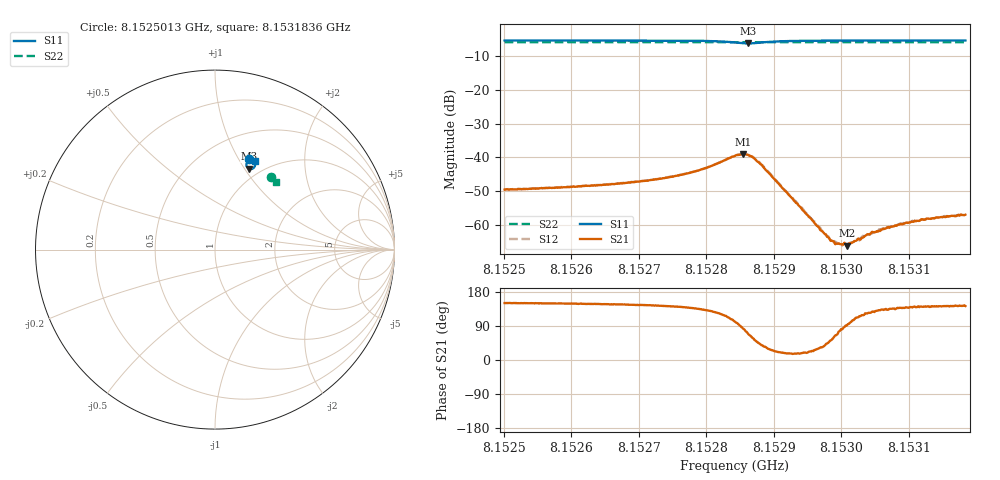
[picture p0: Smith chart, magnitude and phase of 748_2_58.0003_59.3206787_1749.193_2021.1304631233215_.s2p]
#  HZ  S  RI  R  50.00
! Rohde & Schwarz Vector Network Analyzer
! Rohde-Schwarz,ZNB20-2Port,1311601062101988,3.16
! Created: UTC 3/21/2024, 1:23:52 AM
! freq[Hz]  re:S11  im:S11  re:S21  im:S21  re:S12  im:S12  re:S22  im:S22
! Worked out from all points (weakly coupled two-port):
!   401 points, 8.1525013 GHz to 8.1531836 GHz, reference 50 ohm
!   highest |S21| = -38.99 dB at 8.1528544 GHz (marker M1); lowest = -66.2 dB at 8.1530079 GHz (marker M2)
!   lowest |S11| = -6.2 dB at 8.1528612 GHz (marker M3), VSWR 2.91, Z = 44.4 + j52.4 ohm
!   |S11| at or under -10 dB: nowhere
!   |S22| runs from -5.9 to -5.8 dB; largest |S21 - S12| = 0.00035
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8.15250127e9  0.1891 0.5062  -0.00288 0.00164  -0.00288 0.00168  0.3102 0.406
8.15261557e9  0.1985 0.5024  -0.00318 0.00195  -0.00319 0.002  0.3158 0.4013
8.1526838e9  0.2049 0.4994  -0.0035 0.00234  -0.00347 0.00241  0.3193 0.3986
8.15272986e9  0.2102 0.4962  -0.00384 0.00286  -0.00381 0.00294  0.3216 0.3966
8.15278786e9  0.2187 0.4875  -0.0045 0.00449  -0.0045 0.00458  0.3244 0.3938
8.15284245e9  0.2161 0.4558  -0.00205 0.0103  -0.00204 0.0103  0.3263 0.3906
8.15285439e9  0.2012 0.4487  0.00137 0.0111  0.00137 0.0111  0.3263 0.39
8.15286122e9  0.1903 0.4501  0.00359 0.0103  0.0036 0.0104  0.3263 0.3901
8.15287145e9  0.1781 0.4605  0.00574 0.00758  0.00574 0.00778  0.3264 0.3902
8.15288169e9  0.1747 0.4733  0.00605 0.00491  0.0059 0.00495  0.3269 0.3903
8.15295675e9  0.1987 0.4976  0.00107 0.00048  0.0011 0.000463  0.3316 0.3878
8.15298234e9  0.2035 0.4976  0.000409 0.000472  0.000404 0.000461  0.3329 0.3868
8.15298745e9  0.2043 0.4977  0.000309 0.000476  0.000355 0.00048  0.3332 0.3865
8.15299769e9  0.2059 0.4974  0.000116 0.000503  0.00016 0.000504  0.3338 0.386
8.15300793e9  0.2072 0.4973  -4.26e-06 0.000488  -2.73e-05 0.00048  0.3343 0.3856
8.1530301e9  0.2102 0.4966  -0.000302 0.000558  -0.000302 0.000568  0.3353 0.3846
8.15304204e9  0.2114 0.4964  -0.000403 0.000591  -0.000404 0.000595  0.3358 0.3841
8.1530591e9  0.2133 0.4958  -0.000577 0.000618  -0.000568 0.000624  0.3366 0.3834
8.15307104e9  0.2146 0.4955  -0.000637 0.000641  -0.000626 0.000642  0.3373 0.3829
8.15310687e9  0.2179 0.4945  -0.000856 0.000702  -0.000847 0.000739  0.339 0.3813
8.15315463e9  0.2218 0.493  -0.00103 0.000794  -0.00103 0.00081  0.3413 0.3793
8.15318363e9  0.2243 0.4922  -0.00112 0.000859  -0.0011 0.000844  0.3426 0.3779
